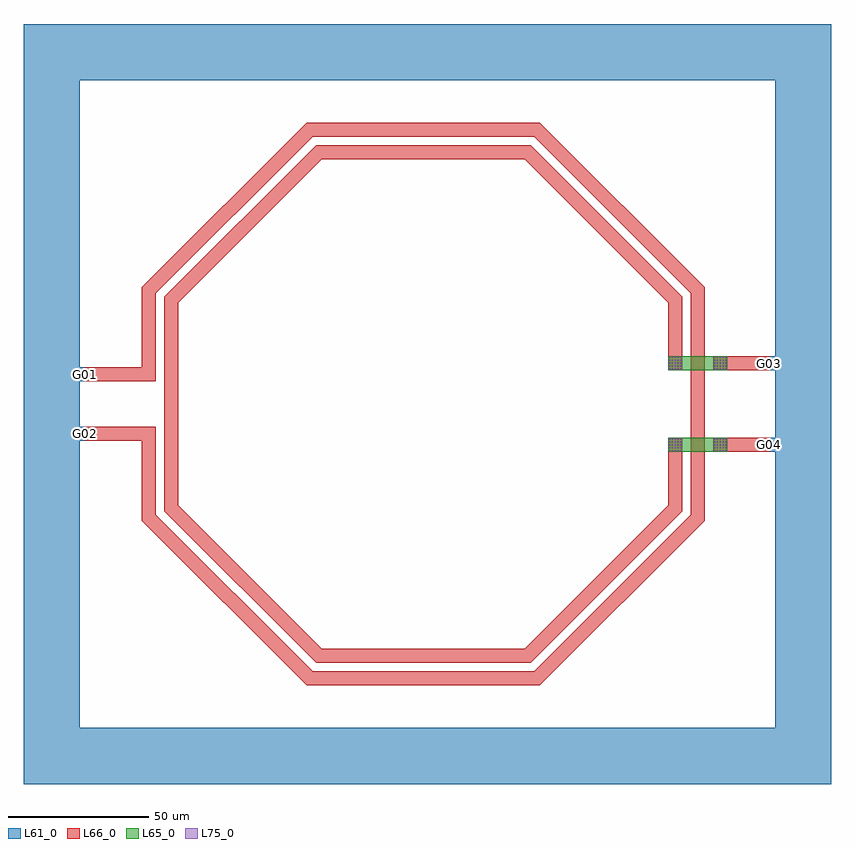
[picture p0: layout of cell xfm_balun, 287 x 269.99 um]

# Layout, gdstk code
import gdstk
lib = gdstk.Library(unit=1e-6, precision=1e-09)
def R(c, l, rs):  # rectangles x0, y0, x1, y1
    for r in rs: c.add(gdstk.rectangle(r[:2], r[2:], *l))
def A(c, l, x, y, w, h, nx, ny, dx, dy):  # array of equal rectangles
    R(c, l, [(x+i*dx, y+j*dy, x+i*dx+w, y+j*dy+h) for i in range(nx) for j in range(ny)])
def P(c, l, *ps):  # polygons
    for p in ps: c.add(gdstk.Polygon(p, *l))
L61_0 = (61, 0)
L65_0 = (65, 0)
L66_0 = (66, 0)
L75_0 = (75, 0)

xfm_balun = lib.new_cell('xfm_balun')
R(xfm_balun, L61_0, [(-142,-134.995,-122,134.995), (-122,-134.995,125,-114.995), (125,-134.995,145,134.995), (123,-17,125,-12), (-122,-13,-120,-8), (-122,8,-120,13), (123,12,125,17), (-122,114.995,125,134.995)])
R(xfm_balun, L65_0, [(87,-17,108,-12), (87,-17,92,-12), (103,-17,108,-12), (87,12,108,17), (87,12,92,17), (103,12,108,17)])
R(xfm_balun, L66_0, [(87,-17,92,-12), (103,-17,123,-12), (103,-17,108,-12), (-120,-13,-100,-8), (-120,8,-100,13), (87,12,92,17), (103,12,123,17), (103,12,108,17)])
P(xfm_balun, L66_0, [(-100,8),(-100,41.415),(-41.42,99.995),(0,99.995),(0,94.995),(-39.34,94.995),(-95,39.335),(-95,8)],
  [(95,0),(95,39.335),(39.34,94.995),(0,94.995),(0,99.995),(41.42,99.995),(100,41.415),(100,0)],
  [(-41.42,-99.995),(-100,-41.415),(-100,-8),(-95,-8),(-95,-39.335),(-39.34,-94.995),(0,-94.995),(0,-99.995)],
  [(0,-99.995),(0,-94.995),(39.34,-94.995),(95,-39.335),(95,0),(100,0),(100,-41.415),(41.42,-99.995)],
  [(-92,0),(-92,38.105),(-38.11,91.995),(0,91.995),(0,86.995),(-36.03,86.995),(-87,36.025),(-87,0)],
  [(87,12),(87,36.025),(36.03,86.995),(0,86.995),(0,91.995),(38.11,91.995),(92,38.105),(92,12)],
  [(-38.11,-91.995),(-92,-38.105),(-92,0),(-87,0),(-87,-36.025),(-36.03,-86.995),(0,-86.995),(0,-91.995)],
  [(0,-91.995),(0,-86.995),(36.03,-86.995),(87,-36.025),(87,-12),(92,-12),(92,-38.105),(38.11,-91.995)])
A(xfm_balun, L75_0, 87.15, -16.85, 0.5, 0.5, 5, 5, 1.05, 1.05)
A(xfm_balun, L75_0, 103.15, -16.85, 0.5, 0.5, 5, 5, 1.05, 1.05)
A(xfm_balun, L75_0, 87.15, 12.15, 0.5, 0.5, 5, 5, 1.05, 1.05)
A(xfm_balun, L75_0, 103.15, 12.15, 0.5, 0.5, 5, 5, 1.05, 1.05)
xfm_balun.add(gdstk.Label('G01', (-120,10.5), layer=61, texttype=2))
xfm_balun.add(gdstk.Label('G02', (-120,-10.5), layer=61, texttype=2))
xfm_balun.add(gdstk.Label('G03', (123,14.5), layer=61, texttype=2))
xfm_balun.add(gdstk.Label('G04', (123,-14.5), layer=61, texttype=2))
xfm_balun.add(gdstk.Label('P1', (-120,10.5), layer=66, texttype=2))
xfm_balun.add(gdstk.Label('N1', (-120,-10.5), layer=66, texttype=2))
xfm_balun.add(gdstk.Label('P2', (123,14.5), layer=66, texttype=2))
xfm_balun.add(gdstk.Label('N2', (123,-14.5), layer=66, texttype=2))

lib.write_gds('xfm_balun.gds')
